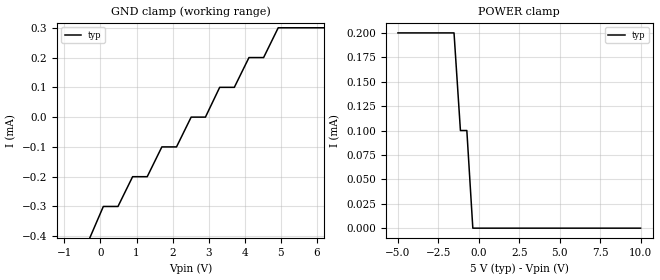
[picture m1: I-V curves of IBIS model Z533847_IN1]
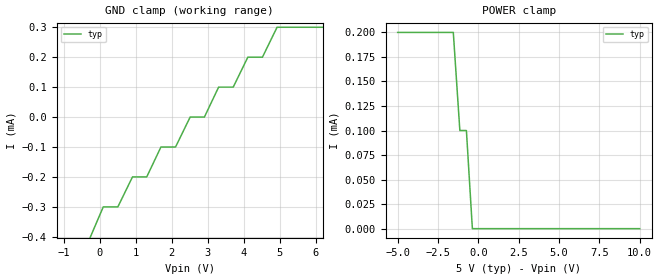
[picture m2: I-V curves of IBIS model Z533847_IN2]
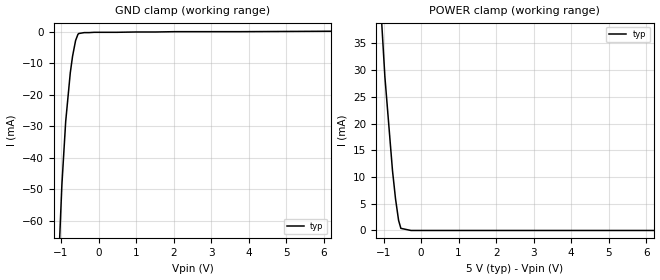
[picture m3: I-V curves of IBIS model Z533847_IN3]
| YOU ARE ONLY AUTHORIZED TO USE THIS SOFTWARE
| ACCORDING TO LICENSOR'S LICENSE RESTRICTIONS.
[IBIS Ver] 3.1
[File Name] mc100e195fn_pecl.ibs
[File Rev] 2.0
[Source] Measured and created by ICX Technology
[Date] Friday 7/14/00 9:07:47 AM
[Copyright]
| (C) COPYRIGHT 1993-2000
| MENTOR GRAPHICS CORPORATION
| ICX STANDARD LIBRARY, ICX PROJECT MODELING,
| ICX CUSTOM MODELING, ICX VENDOR MODEL
| ALL RIGHTS RESERVED.
| THE FOLLOWING ARE TRADEMARKS OR SERVICE MARKS OF
| MENTOR GRAPHICS CORPORATION:ICX (R), ICX STANDARD
| LIBRARY(R), ICX PROJECT MODELING(R), ICX CUSTOM
| MODELING(R), qualityIBIS(TM), MODELVIEWER(TM),
| AND MODELEDITOR(TM)
| ALL COPIES OF SOFTWARE, INCLUDING BUT NOT LIMITED TO
| ANY MODIFICATIONS, ENHANCEMENTS OR DERIVATIVE WORKS,
| MUST CONTAIN ALL MENTOR GRAPHICS CORPORATION'S
| NOTICES AND LEGENDS, INCLUDING THOSE EMBEDDED IN
| SOFTWARE AND THOSE AFFIXED TO SOFTWARE MEDIUM
| AND CONTAINER, AS RECEIVED FROM MENTOR GRAPHICS
| CORPORATION.
|  ZAP Model Builder 2.7
[Component] MC100E195FN_PECL
[Manufacturer] OnSemiconductor
[Package]
| variable   typ   min   max
R_pkg  .083ohms NA NA
L_pkg  4.299nH NA NA
C_pkg  1.045pF NA NA
[Pin] signal_name  model_name  R_pin  L_pin C_pin
1 VEE POWER .08 3.94n .925p
2 IN Z533847_IN1 .082 4.14n .995p
3 _IN Z533847_IN2 .084 4.354n 1.065p
4 VBB NC .086 4.583n 1.135p
5 NC NC .086 4.583n 1.135p
6 NC NC .084 4.354n 1.065p
7 EN Z533847_IN3 .082 4.14n .995p
8 SETMIN Z533847_IN3 .08 3.94n .925p
9 SETMAX Z533847_IN3 .082 4.14n .995p
10 CASCADE Z533847_OUT4 .084 4.354n 1.065p
11 _CASCADE Z533847_OUT5 .086 4.583n 1.135p
12 VCCO POWER .086 4.583n 1.135p
13 _Q Z533847_OUT6 .084 4.354n 1.065p
14 Q Z533847_OUT7 .082 4.14n .995p
15 VCCO POWER .08 3.94n .925p
16 VCC POWER .082 4.14n .995p
17 NC NC .084 4.354n 1.065p
18 NC NC .086 4.583n 1.135p
19 NC NC .086 4.583n 1.135p
20 D7 Z533847_IN8 .084 4.354n 1.065p
21 D6 Z533847_IN8 .082 4.14n .995p
22 D5 Z533847_IN8 .08 3.94n .925p
23 D4 Z533847_IN8 .082 4.14n .995p
24 D3 Z533847_IN8 .084 4.354n 1.065p
25 D2 Z533847_IN8 .086 4.583n 1.135p
26 D1 Z533847_IN8 .086 4.583n 1.135p
27 D0 Z533847_IN8 .084 4.354n 1.065p
28 LEN Z533847_IN3 .082 4.14n .995p
| Models and submodels in the file (8): Z533847_IN1 (Input_ECL), Z533847_IN2 (Input_ECL), Z533847_IN3 (Input_ECL), Z533847_IN8 (Input_ECL), Z533847_OUT4 (Output_ECL), Z533847_OUT5 (Output_ECL), Z533847_OUT6 (Output_ECL), Z533847_OUT7 (Output_ECL)
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| (C) COPYRIGHT 1993-2000
| MENTOR GRAPHICS CORPORATION
| ICX STANDARD LIBRARY, ICX PROJECT MODELING,
| ICX CUSTOM MODELING, ICX VENDOR MODEL
| ALL RIGHTS RESERVED.
| THE FOLLOWING ARE TRADEMARKS OR SERVICE MARKS OF
| MENTOR GRAPHICS CORPORATION:ICX (R), ICX STANDARD
| LIBRARY(R), ICX PROJECT MODELING(R), ICX CUSTOM
| MODELING(R), qualityIBIS(TM), MODELVIEWER(TM),
| AND MODELEDITOR(TM)
| ALL COPIES OF SOFTWARE, INCLUDING BUT NOT LIMITED TO
| ANY MODIFICATIONS, ENHANCEMENTS OR DERIVATIVE WORKS,
| MUST CONTAIN ALL MENTOR GRAPHICS CORPORATION'S
| NOTICES AND LEGENDS, INCLUDING THOSE EMBEDDED IN
| SOFTWARE AND THOSE AFFIXED TO SOFTWARE MEDIUM
| AND CONTAINER, AS RECEIVED FROM MENTOR GRAPHICS
| CORPORATION.
| Model Application Version 1.89 2/18/99.
[Model] Z533847_IN1
Model_type Input_ECL
Vinl = 3.525V
Vinh = 3.835V
C_comp 4.000pF NA NA
| variable typ   min   max
[Voltage Range] 5.000V NA NA
[GND Clamp Reference] 0.000V NA NA
[POWER Clamp Reference] 5.000V NA NA
[GND Clamp]
-5V       -1.729mA   NA         NA
485mV     -300uA     NA         NA
891mV     -200uA     NA         NA
1.296V    -200uA     NA         NA
1.702V    -100uA     NA         NA
2.108V    -100uA     NA         NA
2.514V    0A         NA         NA
2.91V     0A         NA         NA
3.305V    100uA      NA         NA
4.523V    200uA      NA         NA
4.928V    300uA      NA         NA
10V       300uA      NA         NA
[POWER Clamp]
-5V       200uA      NA         NA
-1.532V   200uA      NA         NA
-1.136V   100uA      NA         NA
-740mV    100uA      NA         NA
-370mV    0A         NA         NA
10V       0A         NA         NA
| (C) COPYRIGHT 1993-2000
| MENTOR GRAPHICS CORPORATION
| ICX STANDARD LIBRARY, ICX PROJECT MODELING,
| ICX CUSTOM MODELING, ICX VENDOR MODEL
| ALL RIGHTS RESERVED.
| THE FOLLOWING ARE TRADEMARKS OR SERVICE MARKS OF
| MENTOR GRAPHICS CORPORATION:ICX (R), ICX STANDARD
| LIBRARY(R), ICX PROJECT MODELING(R), ICX CUSTOM
| MODELING(R), qualityIBIS(TM), MODELVIEWER(TM),
| AND MODELEDITOR(TM)
| ALL COPIES OF SOFTWARE, INCLUDING BUT NOT LIMITED TO
| ANY MODIFICATIONS, ENHANCEMENTS OR DERIVATIVE WORKS,
| MUST CONTAIN ALL MENTOR GRAPHICS CORPORATION'S
| NOTICES AND LEGENDS, INCLUDING THOSE EMBEDDED IN
| SOFTWARE AND THOSE AFFIXED TO SOFTWARE MEDIUM
| AND CONTAINER, AS RECEIVED FROM MENTOR GRAPHICS
| CORPORATION.
| Model Application Version 1.89 2/18/99.
[Model] Z533847_IN2
Model_type Input_ECL
Vinl = 3.525V
Vinh = 3.835V
C_comp 4.000pF NA NA
| variable typ   min   max
[Voltage Range] 5.000V NA NA
[GND Clamp Reference] 0.000V NA NA
[POWER Clamp Reference] 5.000V NA NA
[GND Clamp]
-5V       -1.734mA   NA         NA
505mV     -300uA     NA         NA
911mV     -200uA     NA         NA
1.307V    -200uA     NA         NA
1.702V    -100uA     NA         NA
2.108V    -100uA     NA         NA
2.514V    0A         NA         NA
2.91V     0A         NA         NA
4.117V    200uA      NA         NA
4.523V    200uA      NA         NA
4.929V    300uA      NA         NA
10V       300uA      NA         NA
[POWER Clamp]
-5V       200uA      NA         NA
-1.552V   200uA      NA         NA
-1.146V   100uA      NA         NA
-740mV    100uA      NA         NA
-370mV    0A         NA         NA
10V       0A         NA         NA
| (C) COPYRIGHT 1993-2000
| MENTOR GRAPHICS CORPORATION
| ICX STANDARD LIBRARY, ICX PROJECT MODELING,
| ICX CUSTOM MODELING, ICX VENDOR MODEL
| ALL RIGHTS RESERVED.
| THE FOLLOWING ARE TRADEMARKS OR SERVICE MARKS OF
| MENTOR GRAPHICS CORPORATION:ICX (R), ICX STANDARD
| LIBRARY(R), ICX PROJECT MODELING(R), ICX CUSTOM
| MODELING(R), qualityIBIS(TM), MODELVIEWER(TM),
| AND MODELEDITOR(TM)
| ALL COPIES OF SOFTWARE, INCLUDING BUT NOT LIMITED TO
| ANY MODIFICATIONS, ENHANCEMENTS OR DERIVATIVE WORKS,
| MUST CONTAIN ALL MENTOR GRAPHICS CORPORATION'S
| NOTICES AND LEGENDS, INCLUDING THOSE EMBEDDED IN
| SOFTWARE AND THOSE AFFIXED TO SOFTWARE MEDIUM
| AND CONTAINER, AS RECEIVED FROM MENTOR GRAPHICS
| CORPORATION.
| Model Application Version 1.89 2/18/99.
[Model] Z533847_IN3
Model_type Input_ECL
Vinl = 3.525V
Vinh = 3.835V
C_comp 4.000pF NA NA
| variable typ   min   max
[Voltage Range] 5.000V NA NA
[GND Clamp Reference] 0.000V NA NA
[POWER Clamp Reference] 5.000V NA NA
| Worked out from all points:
|   GND clamp passes 1 mA (typ) near -0.55 V on its own axis
|   POWER clamp passes 1 mA (typ) near -0.56 V on its own axis
[GND Clamp]
-5V       -2.361A    NA         NA
-1.079V   -77.6mA    NA         NA
-977mV    -48.5mA    NA         NA
-876mV    -28.5mA    NA         NA
-754mV    -13.1mA    NA         NA
-693mV    -7.8mA     NA         NA
-612mV    -2.8mA     NA         NA
-551mV    -900uA     NA         NA
-531mV    -600uA     NA         NA
-118mV    -200uA     NA         NA
2.027V    0A         NA         NA
10V       359.5uA    NA         NA
[POWER Clamp]
-5V       996.6mA    NA         NA
-1.978V   249.4mA    NA         NA
-1.431V   105mA      NA         NA
-1.289V   73.75mA    NA         NA
-1.147V   50.56mA    NA         NA
-964mV    28.77mA    NA         NA
-761mV    11.18mA    NA         NA
-680mV    5.889mA    NA         NA
-599mV    1.894mA    NA         NA
-538mV    397.6uA    NA         NA
-269mV    0A         NA         NA
10V       0A         NA         NA
